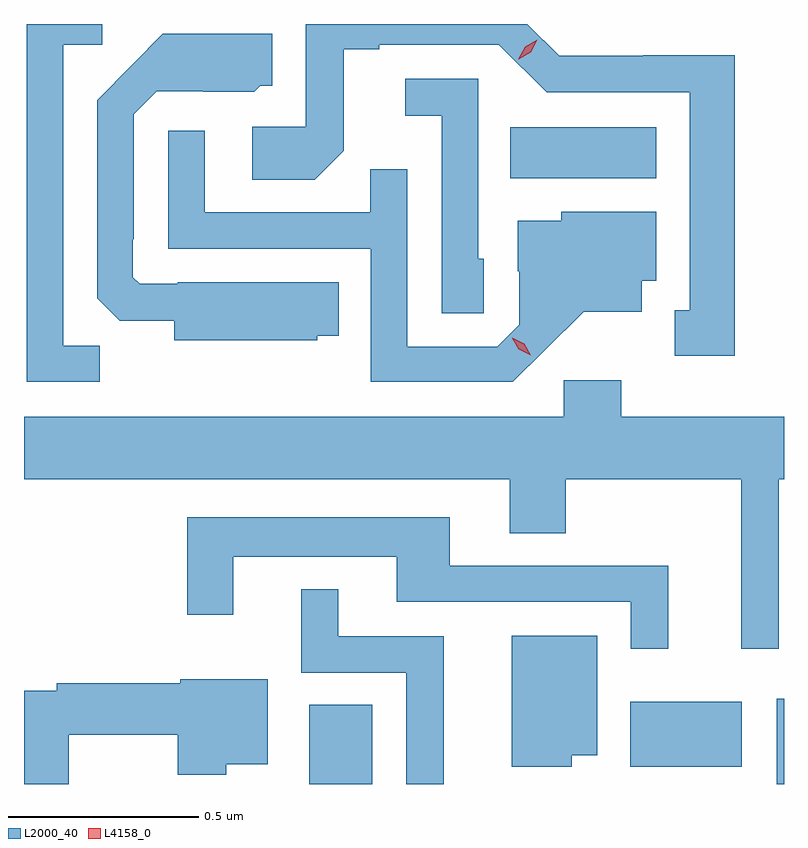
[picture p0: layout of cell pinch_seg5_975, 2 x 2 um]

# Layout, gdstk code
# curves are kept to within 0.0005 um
import gdstk
lib = gdstk.Library(unit=1e-6, precision=1e-09)
def R(c, l, rs):  # rectangles x0, y0, x1, y1
    for r in rs: c.add(gdstk.rectangle(r[:2], r[2:], *l))
def P(c, l, *ps):  # polygons
    for p in ps: c.add(gdstk.Polygon(p, *l))
L2000_40 = (2000, 40)
L4158_0 = (4158, 0)

pinch_seg5_975 = lib.new_cell('pinch_seg5_975')
R(pinch_seg5_975, L2000_40, [(701.606,910.57,701.773,910.778), (702.837,910.57,702.856,910.795), (702.452,910.616,702.745,910.786), (702.136,912.164,702.52,912.298)])
P(pinch_seg5_975, L2000_40, [(702.727,912.488),(702.486,912.488),(702.486,912.486),(702.264,912.486),(702.18,912.57),(701.598,912.57),(701.598,912.3),(701.457,912.3),(701.457,912.16),(701.621,912.16),(701.697,912.236),(701.697,912.504),(701.791,912.504),(701.791,912.516),(702.105,912.516),(702.231,912.39),(702.608,912.39),(702.608,911.817),(702.569,911.817),(702.569,911.697),(702.727,911.697)],
  [(701.055,911.723),(700.959,911.723),(700.959,912.516),(701.062,912.516),(701.062,912.57),(700.863,912.57),(700.863,911.628),(701.055,911.628)],
  [(701.628,911.75),(701.684,911.75),(701.684,911.89),(701.26,911.89),(701.26,911.886),(701.16,911.886),(701.142,911.904),(701.142,912.004),(701.145,912.004),(701.145,912.333),(701.205,912.393),(701.328,912.393),(701.328,912.392),(701.462,912.392),(701.478,912.408),(701.509,912.408),(701.509,912.544),(701.221,912.544),(701.049,912.37),(701.049,911.848),(701.108,911.789),(701.252,911.789),(701.252,911.738),(701.628,911.738)],
  [(702.066,911.952),(702.051,911.952),(702.051,912.426),(701.859,912.426),(701.859,912.329),(701.955,912.329),(701.955,911.809),(702.066,911.809)],
  [(702.226,911.711),(702.329,911.813),(702.481,911.813),(702.481,911.894),(702.52,911.894),(702.52,912.076),(702.27,912.076),(702.27,912.052),(702.155,912.052),(702.155,911.92),(702.159,911.92),(702.159,911.778),(702.102,911.721),(701.865,911.721),(701.865,912.188),(701.767,912.188),(701.767,912.075),(701.331,912.075),(701.331,912.289),(701.235,912.289),(701.235,911.979),(701.769,911.979),(701.769,911.628),(702.142,911.628)],
  [(702.842,911.372),(702.856,911.372),(702.856,911.536),(702.428,911.536),(702.428,911.632),(702.276,911.632),(702.276,911.536),(700.856,911.536),(700.856,911.372),(702.134,911.372),(702.134,911.23),(702.282,911.23),(702.282,911.372),(702.743,911.372),(702.743,910.926),(702.842,910.926)],
  [(702.551,911.145),(701.977,911.145),(701.977,911.272),(701.286,911.272),(701.286,911.016),(701.407,911.016),(701.407,911.168),(701.837,911.168),(701.837,911.049),(702.453,911.049),(702.453,910.926),(702.551,910.926)],
  [(701.96,910.959),(701.683,910.959),(701.683,911.083),(701.585,911.083),(701.585,910.863),(701.862,910.863),(701.862,910.57),(701.96,910.57)],
  [(702.298,910.646),(702.364,910.646),(702.364,910.96),(702.14,910.96),(702.14,910.616),(702.298,910.616)],
  [(700.974,910.699),(701.26,910.699),(701.26,910.595),(701.388,910.595),(701.388,910.622),(701.497,910.622),(701.497,910.846),(701.267,910.846),(701.267,910.835),(700.942,910.835),(700.942,910.815),(700.856,910.815),(700.856,910.57),(700.974,910.57)])
P(pinch_seg5_975, L4158_0, [(702.157,912.477),(702.157,912.477),(702.175,912.51),(702.207,912.528),(702.207,912.528),(702.207,912.528),(702.189,912.496),(702.158,912.477)],
  [(702.189,911.698),(702.158,911.714),(702.141,911.743),(702.141,911.744),(702.141,911.744),(702.172,911.728),(702.189,911.698),(702.189,911.698)])

lib.write_gds('pinch_seg5_975.gds')
